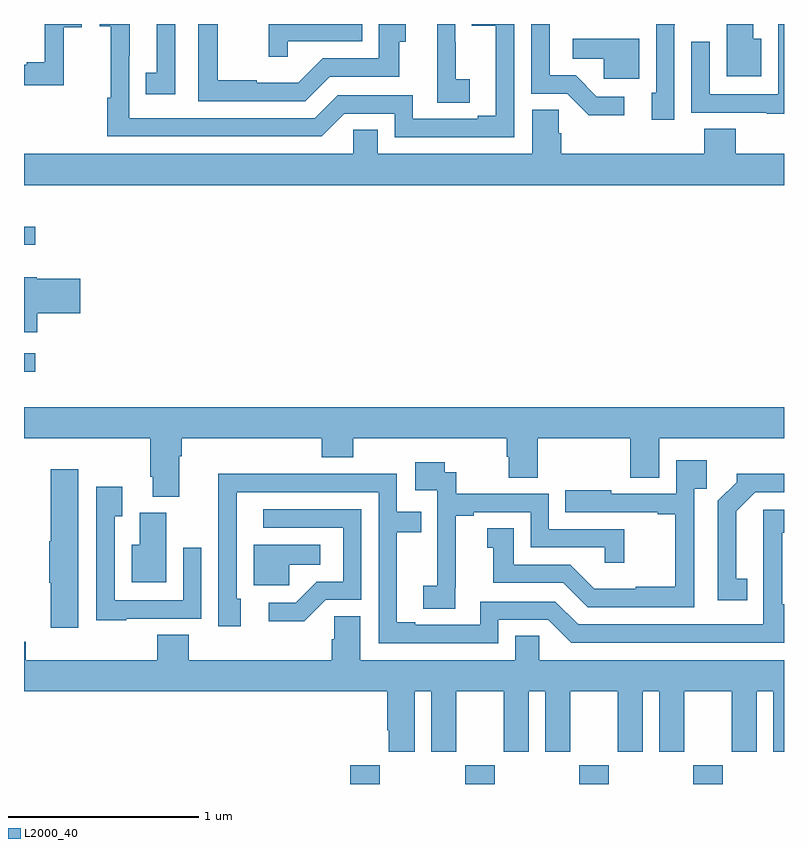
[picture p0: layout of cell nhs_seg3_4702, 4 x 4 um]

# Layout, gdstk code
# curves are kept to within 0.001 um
import gdstk
lib = gdstk.Library(unit=1e-6, precision=1e-09)
def R(c, l, rs):  # rectangles x0, y0, x1, y1
    for r in rs: c.add(gdstk.rectangle(r[:2], r[2:], *l))
def A(c, l, x, y, w, h, nx, ny, dx, dy):  # array of equal rectangles
    R(c, l, [(x+i*dx, y+j*dy, x+i*dx+w, y+j*dy+h) for i in range(nx) for j in range(ny)])
def P(c, l, *ps):  # polygons
    for p in ps: c.add(gdstk.Polygon(p, *l))
L2000_40 = (2000, 40)

nhs_seg3_4702 = lib.new_cell('nhs_seg3_4702')
A(nhs_seg3_4702, L2000_40, 365.323, 728.4, 0.155, 0.1, 3, 1, 0.6, 0)
R(nhs_seg3_4702, L2000_40, [(364.718,728.4,364.873,728.5), (363,730.571,363.058,730.668), (363,731.237,363.058,731.334)])
P(nhs_seg3_4702, L2000_40, [(363.795,732.4),(363.698,732.4),(363.698,732.143),(363.64,732.143),(363.64,732.03),(363.795,732.03)],
  [(366.16,732.018),(366.015,732.018),(365.904,732.129),(365.766,732.129),(365.766,732.4),(365.67,732.4),(365.67,732.033),(365.859,732.033),(365.972,731.921),(366.16,731.921)],
  [(366.423,732.394),(366.425,732.394),(366.425,732.4),(366.327,732.4),(366.327,732.039),(366.305,732.039),(366.305,731.895),(366.423,731.895)],
  [(365.58,732.4),(365.356,732.4),(365.356,732.39),(365.483,732.39),(365.483,731.916),(365.387,731.916),(365.387,731.901),(365.046,731.901),(365.046,732.024),(364.65,732.024),(364.53,731.904),(363.555,731.904),(363.556,732.4),(363.399,732.4),(363.399,732.387),(363.457,732.387),(363.457,732.011),(363.439,732.011),(363.439,731.808),(364.566,731.808),(364.686,731.928),(364.95,731.928),(364.95,731.805),(365.58,731.805)],
  [(364.608,732.123),(364.975,732.123),(364.975,732.307),(365.008,732.307),(365.008,732.4),(364.868,732.4),(364.868,732.219),(364.572,732.219),(364.444,732.091),(364.226,732.091),(364.226,732.103),(364.019,732.103),(364.019,732.4),(363.918,732.4),(363.918,731.994),(364.479,731.994)],
  [(365.347,732.108),(365.273,732.108),(365.273,732.305),(365.271,732.305),(365.271,732.4),(365.174,732.4),(365.174,732.097),(365.176,732.097),(365.176,731.986),(365.347,731.986)],
  [(364.389,732.309),(364.779,732.309),(364.779,732.4),(364.288,732.4),(364.288,732.228),(364.389,732.228)],
  [(363.21,732.382),(363.304,732.382),(363.304,732.4),(363.11,732.4),(363.11,732.199),(363.014,732.199),(363.014,732.186),(363,732.186),(363,732.078),(363.21,732.078)],
  [(366.88,732.322),(366.838,732.322),(366.838,732.4),(366.698,732.4),(366.698,732.125),(366.88,732.125)],
  [(367,732.4),(366.969,732.4),(366.969,732.03),(366.609,732.03),(366.609,732.307),(366.513,732.307),(366.513,731.934),(366.909,731.934),(366.909,731.927),(367,731.927)],
  [(366.238,732.322),(365.889,732.322),(365.889,732.218),(366.051,732.218),(366.051,732.111),(366.238,732.111)],
  [(367,731.716),(366.746,731.716),(366.746,731.849),(366.581,731.849),(366.581,731.716),(365.828,731.716),(365.828,731.825),(365.814,731.825),(365.814,731.948),(365.675,731.948),(365.675,731.716),(364.861,731.716),(364.861,731.843),(364.734,731.843),(364.734,731.716),(363,731.716),(363,731.552),(367,731.552)],
  [(363.07,730.877),(363.295,730.877),(363.295,731.06),(363.066,731.06),(363.066,731.068),(363,731.068),(363,730.778),(363.07,730.778)],
  [(363.817,730.124),(363.83,730.124),(363.83,730.22),(364.568,730.22),(364.568,730.121),(364.733,730.121),(364.733,730.22),(365.54,730.22),(365.54,730.122),(365.552,730.122),(365.552,730.012),(365.705,730.012),(365.705,730.22),(366.191,730.22),(366.191,730.012),(366.343,730.012),(366.343,730.22),(367,730.22),(367,730.384),(363,730.384),(363,730.22),(363.665,730.22),(363.665,730.018),(363.677,730.018),(363.677,729.913),(363.817,729.913)],
  [(366.528,729.953),(366.593,729.953),(366.593,730.105),(366.432,730.105),(366.432,729.927),(366.091,729.927),(366.091,729.946),(365.848,729.946),(365.848,729.831),(366.335,729.831),(366.335,729.819),(366.427,729.819),(366.427,729.439),(366.221,729.439),(366.221,729.427),(366.002,729.427),(365.874,729.555),(365.578,729.555),(365.578,729.746),(365.438,729.746),(365.438,729.643),(365.471,729.643),(365.471,729.459),(365.838,729.459),(365.967,729.33),(366.528,729.33)],
  [(365.27,729.433),(365.272,729.433),(365.272,729.811),(365.368,729.811),(365.368,729.831),(365.667,729.831),(365.667,729.645),(366.057,729.645),(366.057,729.564),(366.158,729.564),(366.158,729.741),(365.763,729.741),(365.763,729.927),(365.276,729.927),(365.276,730.041),(365.214,730.041),(365.214,730.093),(365.058,730.093),(365.058,729.945),(365.175,729.945),(365.175,729.641),(365.174,729.641),(365.174,729.444),(365.1,729.444),(365.1,729.322),(365.27,729.322)],
  [(363.286,730.057),(363.14,730.057),(363.14,729.677),(363.133,729.677),(363.133,729.46),(363.14,729.46),(363.14,729.222),(363.286,729.222)],
  [(366.806,729.479),(366.748,729.479),(366.748,729.835),(366.849,729.936),(367,729.936),(367,730.034),(366.75,730.034),(366.75,729.989),(366.651,729.89),(366.651,729.366),(366.806,729.366)],
  [(365.496,729.264),(365.76,729.264),(365.88,729.144),(367,729.144),(367,729.347),(366.99,729.347),(366.99,729.723),(367,729.723),(367,729.844),(366.89,729.844),(366.891,729.24),(365.916,729.24),(365.796,729.36),(365.4,729.36),(365.4,729.237),(365.059,729.237),(365.059,729.252),(364.963,729.252),(364.963,729.726),(365.09,729.726),(365.09,729.834),(364.962,729.834),(364.962,730.032),(364.484,730.032),(364.484,730.034),(364.022,730.034),(364.023,729.231),(364.141,729.231),(364.141,729.375),(364.119,729.375),(364.119,729.936),(364.866,729.936),(364.866,729.141),(365.496,729.141)],
  [(363.537,729.27),(363.933,729.27),(363.933,729.643),(363.837,729.643),(363.837,729.366),(363.477,729.366),(363.477,729.808),(363.517,729.808),(363.517,729.964),(363.381,729.964),(363.381,729.263),(363.537,729.263)],
  [(364.587,729.369),(364.776,729.369),(364.776,729.846),(364.26,729.846),(364.26,729.75),(364.68,729.75),(364.68,729.465),(364.542,729.465),(364.431,729.354),(364.287,729.354),(364.287,729.257),(364.474,729.257)],
  [(363.748,729.828),(363.608,729.828),(363.608,729.658),(363.566,729.658),(363.566,729.461),(363.748,729.461)],
  [(364.395,729.554),(364.558,729.554),(364.558,729.658),(364.208,729.658),(364.208,729.447),(364.395,729.447)],
  [(365.056,728.888),(365.144,728.888),(365.144,728.571),(365.275,728.571),(365.275,728.888),(365.525,728.888),(365.525,728.571),(365.656,728.571),(365.656,728.888),(365.744,728.888),(365.744,728.571),(365.875,728.571),(365.875,728.888),(366.125,728.888),(366.125,728.571),(366.256,728.571),(366.256,728.888),(366.344,728.888),(366.344,728.571),(366.475,728.571),(366.475,728.888),(366.725,728.888),(366.725,728.571),(366.856,728.571),(366.856,728.888),(366.944,728.888),(366.944,728.571),(367,728.571),(367,729.052),(365.712,729.052),(365.712,729.179),(365.585,729.179),(365.585,729.052),(364.771,729.052),(364.771,729.284),(364.632,729.284),(364.632,729.161),(364.619,729.161),(364.619,729.052),(363.866,729.052),(363.866,729.185),(363.701,729.185),(363.701,729.052),(363.008,729.052),(363.008,729.148),(363,729.148),(363,728.888),(364.913,728.888),(364.913,728.683),(364.919,728.683),(364.919,728.571),(365.056,728.571)])

lib.write_gds('nhs_seg3_4702.gds')
